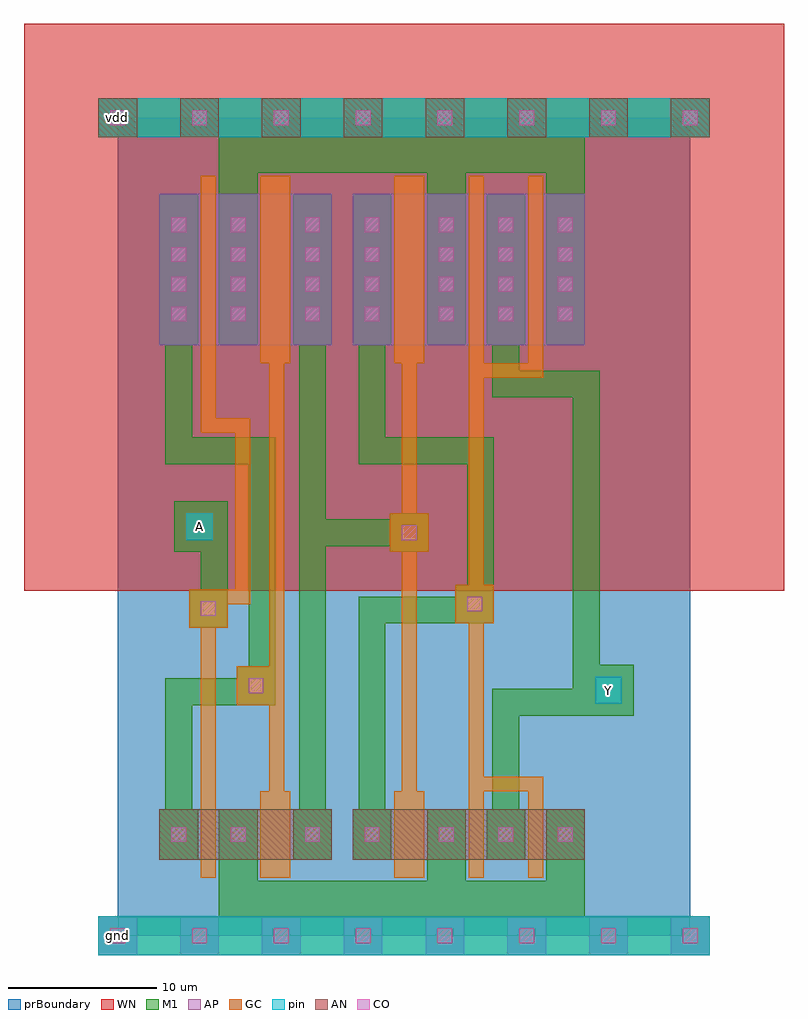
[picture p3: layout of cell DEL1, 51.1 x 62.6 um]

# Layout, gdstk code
import gdstk
lib = gdstk.Library(unit=1e-6, precision=1e-09)
def R(c, l, rs):  # rectangles x0, y0, x1, y1
    for r in rs: c.add(gdstk.rectangle(r[:2], r[2:], *l))
def A(c, l, x, y, w, h, nx, ny, dx, dy):  # array of equal rectangles
    R(c, l, [(x+i*dx, y+j*dy, x+i*dx+w, y+j*dy+h) for i in range(nx) for j in range(ny)])
def P(c, l, *ps):  # polygons
    for p in ps: c.add(gdstk.Polygon(p, *l))
AP = (3, 1)
AN = (3, 2)
GC = (8, 1)
CO = (11, 0)
M1 = (13, 0)
pin = (48, 1)
WN = (140, 0)
prBoundary = (235, 0)

del1 = lib.new_cell('DEL1')
A(del1, AP, -1.3, -1.3, 2.6, 2.6, 8, 1, 5.5, 0)
R(del1, AP, [(2.8,39.7,14.4,49.9), (2.8,39.7,14.4,49.9), (15.8,39.7,31.4,49.9), (15.8,39.7,31.4,49.9)])
A(del1, AN, -1.3, 53.7, 2.6, 2.6, 8, 1, 5.5, 0)
R(del1, AN, [(2.8,5.1,14.4,8.5), (15.8,5.1,31.4,8.5)])
P(del1, GC, [(5.6,3.9),(5.6,20.7),(4.8,20.7),(4.8,23.3),(7.9,23.3),(7.9,33.8),(5.6,33.8),(5.6,51.1),(6.6,51.1),(6.6,34.8),(8.9,34.8),(8.9,22.3),(7.4,22.3),(7.4,20.7),(6.6,20.7),(6.6,3.9)],
  [(9.6,3.9),(9.6,9.7),(10.2,9.7),(10.2,15.5),(8,15.5),(8,18.1),(10.2,18.1),(10.2,38.5),(9.6,38.5),(9.6,51.1),(11.6,51.1),(11.6,38.5),(11.2,38.5),(11.2,9.7),(11.6,9.7),(11.6,3.9)],
  [(18.6,3.9),(18.6,9.7),(19.1,9.7),(19.1,25.8),(18.3,25.8),(18.3,28.4),(19.1,28.4),(19.1,38.5),(18.6,38.5),(18.6,51.1),(20.6,51.1),(20.6,38.5),(20.1,38.5),(20.1,28.4),(20.9,28.4),(20.9,25.8),(20.1,25.8),(20.1,9.7),(20.6,9.7),(20.6,3.9)],
  [(23.6,3.9),(23.6,21),(22.7,21),(22.7,23.6),(23.6,23.6),(23.6,51.1),(24.6,51.1),(24.6,38.5),(27.6,38.5),(27.6,51.1),(28.6,51.1),(28.6,37.5),(24.6,37.5),(24.6,23.6),(25.3,23.6),(25.3,21),(24.6,21),(24.6,10.7),(28.6,10.7),(28.6,3.9),(27.6,3.9),(27.6,9.7),(24.6,9.7),(24.6,3.9)])
A(del1, CO, -0.5, -0.5, 1, 1, 8, 2, 5.5, 55)
A(del1, CO, 21.6, 6.3, 1, 1, 3, 2, 4, 35)
A(del1, CO, 3.6, 41.3, 1, 1, 1, 4, 0, 2)
A(del1, CO, 12.6, 41.3, 1, 1, 1, 4, 0, 2)
A(del1, CO, 16.6, 41.3, 1, 1, 1, 4, 0, 2)
A(del1, CO, 21.6, 41.3, 1, 1, 1, 4, 0, 2)
A(del1, CO, 21.6, 43.3, 1, 1, 3, 3, 4, 2)
R(del1, CO, [(3.6,6.3,4.6,7.3), (7.6,6.3,8.6,7.3), (7.6,6.3,8.6,7.3), (12.6,6.3,13.6,7.3), (16.6,6.3,17.6,7.3), (21.6,6.3,22.6,7.3), (8.8,16.3,9.8,17.3), (5.6,21.5,6.6,22.5), (23.5,21.8,24.5,22.8), (19.1,26.6,20.1,27.6), (7.6,41.3,8.6,42.3), (7.6,41.3,8.6,42.3), (7.6,43.3,8.6,44.3), (7.6,43.3,8.6,44.3), (7.6,45.3,8.6,46.3), (7.6,45.3,8.6,46.3), (7.6,47.3,8.6,48.3), (7.6,47.3,8.6,48.3)])
P(del1, M1, [(-1.3,-1.3),(-1.3,1.3),(6.8,1.3),(6.8,8.5),(9.4,8.5),(9.4,3.7),(20.8,3.7),(20.8,8.5),(23.4,8.5),(23.4,3.7),(28.8,3.7),(28.8,8.5),(31.4,8.5),(31.4,1.3),(39.8,1.3),(39.8,-1.3)],
  [(4.8,20.7),(4.8,23.3),(5.6,23.3),(5.6,25.8),(3.8,25.8),(3.8,29.2),(7.4,29.2),(7.4,20.7)],
  [(2.8,5.1),(2.8,8.5),(3.2,8.5),(3.2,17.3),(8,17.3),(8,18.1),(8.8,18.1),(8.8,31.7),(3.2,31.7),(3.2,39.7),(2.8,39.7),(2.8,49.9),(5.4,49.9),(5.4,39.7),(5,39.7),(5,33.5),(10.6,33.5),(10.6,15.5),(5,15.5),(5,8.5),(5.4,8.5),(5.4,5.1)],
  [(11.8,5.1),(11.8,8.5),(12.2,8.5),(12.2,39.7),(11.8,39.7),(11.8,49.9),(14.4,49.9),(14.4,39.7),(14,39.7),(14,28),(18.3,28),(18.3,28.4),(20.9,28.4),(20.9,25.8),(18.3,25.8),(18.3,26.2),(14,26.2),(14,8.5),(14.4,8.5),(14.4,5.1)],
  [(15.8,5.1),(15.8,8.5),(16.2,8.5),(16.2,22.8),(22.7,22.8),(22.7,23.6),(23.5,23.6),(23.5,31.7),(16.2,31.7),(16.2,39.7),(15.8,39.7),(15.8,49.9),(18.4,49.9),(18.4,39.7),(18,39.7),(18,33.5),(25.3,33.5),(25.3,21),(18,21),(18,8.5),(18.4,8.5),(18.4,5.1)],
  [(24.8,5.1),(24.8,8.5),(25.2,8.5),(25.2,16.6),(30.6,16.6),(30.6,36.2),(25.2,36.2),(25.2,39.7),(24.8,39.7),(24.8,49.9),(27.4,49.9),(27.4,39.7),(27,39.7),(27,38),(32.4,38),(32.4,18.2),(34.7,18.2),(34.7,14.8),(27,14.8),(27,8.5),(27.4,8.5),(27.4,5.1)],
  [(6.8,39.7),(6.8,53.7),(-1.3,53.7),(-1.3,56.3),(39.8,56.3),(39.8,53.7),(31.4,53.7),(31.4,39.7),(28.8,39.7),(28.8,51.3),(23.4,51.3),(23.4,39.7),(20.8,39.7),(20.8,51.3),(9.4,51.3),(9.4,39.7)])
R(del1, pin, [(-1.3,-1.3,39.8,1.3), (32.1,15.6,33.9,17.4), (4.6,26.6,6.4,28.4), (-1.3,53.7,39.8,56.3)])
R(del1, WN, [(-6.3,23.2,44.8,61.3)])
R(del1, prBoundary, [(0,0,38.5,55)])
del1.add(gdstk.Label('Y', (33,16.5), layer=48, texttype=0))
del1.add(gdstk.Label('A', (5.5,27.5), layer=48, texttype=0))
del1.add(gdstk.Label('vdd', (0,55), layer=48, texttype=0))
del1.add(gdstk.Label('A', (5.5,27.5), layer=48, texttype=0))
del1.add(gdstk.Label('vdd', (0,55), layer=48, texttype=0))
del1.add(gdstk.Label('gnd', (0,0), layer=48, texttype=0))

lib.write_gds('DEL1.gds')
